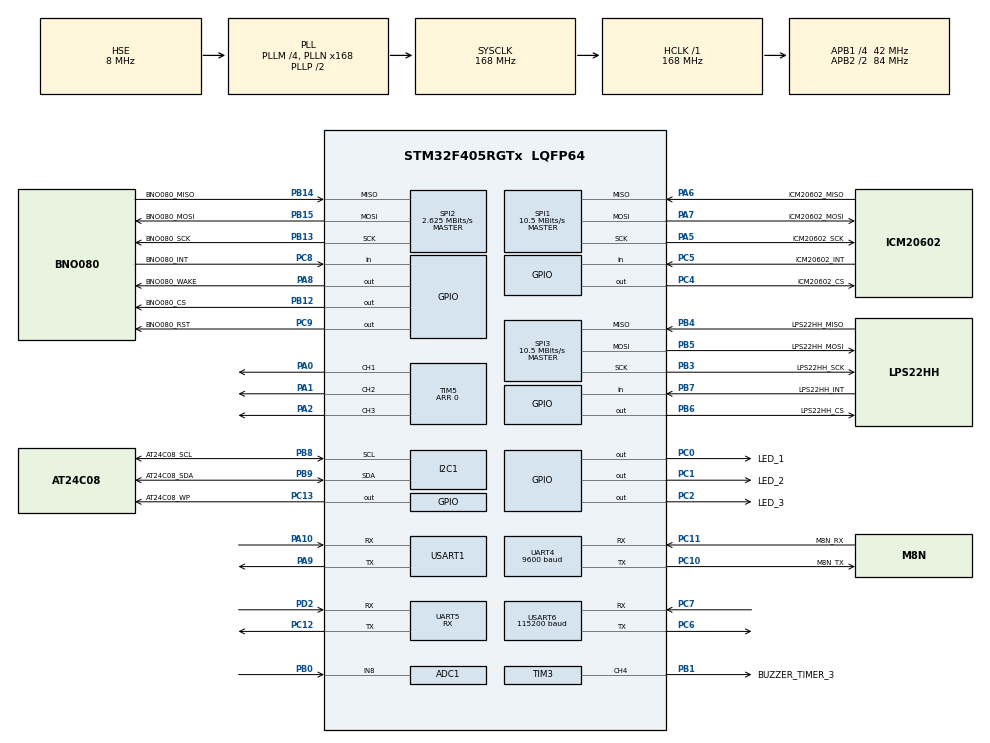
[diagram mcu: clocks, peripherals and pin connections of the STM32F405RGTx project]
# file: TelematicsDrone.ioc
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ADC1.Channel-0\#ChannelRegularConversion=ADC_CHANNEL_8
ADC1.ClockPrescaler=ADC_CLOCK_SYNC_PCLK_DIV8
ADC1.ContinuousConvMode=ENABLE
ADC1.DMAContinuousRequests=ENABLE
ADC1.NbrOfConversionFlag=1
ADC1.Rank-0\#ChannelRegularConversion=1
ADC1.SamplingTime-0\#ChannelRegularConversion=ADC_SAMPLETIME_480CYCLES
ADC1.master=1
Dma.ADC1.0.Direction=DMA_PERIPH_TO_MEMORY
Dma.ADC1.0.FIFOMode=DMA_FIFOMODE_DISABLE
Dma.ADC1.0.Instance=DMA2_Stream0
Dma.ADC1.0.MemDataAlignment=DMA_MDATAALIGN_HALFWORD
Dma.ADC1.0.MemInc=DMA_MINC_DISABLE
Dma.ADC1.0.Mode=DMA_CIRCULAR
Dma.ADC1.0.PeriphDataAlignment=DMA_PDATAALIGN_HALFWORD
Dma.ADC1.0.PeriphInc=DMA_PINC_DISABLE
Dma.ADC1.0.Priority=DMA_PRIORITY_LOW
Dma.Request0=ADC1
I2C1.I2C_Mode=I2C_Fast
Mcu.Family=STM32F4
Mcu.Name=STM32F405RGTx
Mcu.Package=LQFP64
NVIC.DMA2_Stream0_IRQn=true\:0\:0\:false\:false\:true\:false\:true\:true
NVIC.PriorityGroup=NVIC_PRIORITYGROUP_4
NVIC.TIM7_IRQn=true\:0\:0\:false\:false\:true\:true\:true\:true
NVIC.UART4_IRQn=true\:0\:0\:false\:false\:true\:true\:true\:true
NVIC.UART5_IRQn=true\:0\:0\:false\:false\:true\:true\:true\:true
NVIC.USART1_IRQn=true\:0\:0\:false\:false\:true\:true\:true\:true
NVIC.USART6_IRQn=true\:0\:0\:false\:false\:true\:true\:true\:true
PA0-WKUP.Signal=S_TIM5_CH1
PA1.Signal=S_TIM5_CH2
PA10.Mode=Asynchronous
PA10.Signal=USART1_RX
PA2.Signal=S_TIM5_CH3
PA5.GPIO_Label=ICM20602_SCK
PA5.Mode=Full_Duplex_Master
PA5.Signal=SPI1_SCK
PA6.GPIO_Label=ICM20602_MISO
PA6.Mode=Full_Duplex_Master
PA6.Signal=SPI1_MISO
PA7.GPIO_Label=ICM20602_MOSI
PA7.Mode=Full_Duplex_Master
PA7.Signal=SPI1_MOSI
PA8.GPIO_Label=BNO080_WAKE
PA8.Signal=GPIO_Output
PA9.Mode=Asynchronous
PA9.Signal=USART1_TX
PB0.Signal=ADCx_IN8
PB1.GPIO_Label=BUZZER_TIMER_3
PB1.Signal=S_TIM3_CH4
PB12.GPIO_Label=BNO080_CS
PB12.Signal=GPIO_Output
PB13.GPIO_Label=BNO080_SCK
PB13.Mode=Full_Duplex_Master
PB13.Signal=SPI2_SCK
PB14.GPIO_Label=BNO080_MISO
PB14.Mode=Full_Duplex_Master
PB14.Signal=SPI2_MISO
PB15.GPIO_Label=BNO080_MOSI
PB15.Mode=Full_Duplex_Master
PB15.Signal=SPI2_MOSI
PB3.GPIO_Label=LPS22HH_SCK
PB3.Mode=Full_Duplex_Master
PB3.Signal=SPI3_SCK
PB4.GPIO_Label=LPS22HH_MISO
PB4.Mode=Full_Duplex_Master
PB4.Signal=SPI3_MISO
PB5.GPIO_Label=LPS22HH_MOSI
PB5.Mode=Full_Duplex_Master
PB5.Signal=SPI3_MOSI
PB6.GPIO_Label=LPS22HH_CS
PB6.Signal=GPIO_Output
PB7.GPIO_Label=LPS22HH_INT
PB7.Signal=GPIO_Input
PB8.GPIO_Label=AT24C08_SCL
PB8.Mode=I2C
PB8.Signal=I2C1_SCL
PB9.GPIO_Label=AT24C08_SDA
PB9.Mode=I2C
PB9.Signal=I2C1_SDA
PC0.GPIO_Label=LED_1
PC0.Signal=GPIO_Output
PC1.GPIO_Label=LED_2
PC1.Signal=GPIO_Output
PC10.GPIO_Label=M8N_TX
PC10.Mode=Asynchronous
PC10.Signal=UART4_TX
PC11.GPIO_Label=M8N_RX
PC11.Mode=Asynchronous
PC11.Signal=UART4_RX
PC12.Mode=Asynchronous
PC12.Signal=UART5_TX
PC13-ANTI_TAMP.GPIO_Label=AT24C08_WP
PC13-ANTI_TAMP.PinState=GPIO_PIN_SET
PC13-ANTI_TAMP.Signal=GPIO_Output
PC2.GPIO_Label=LED_3
PC2.Signal=GPIO_Output
PC4.GPIO_Label=ICM20602_CS
PC4.Signal=GPIO_Output
PC5.GPIO_Label=ICM20602_INT
PC5.Signal=GPIO_Input
PC6.Mode=Asynchronous
PC6.Signal=USART6_TX
PC7.Mode=Asynchronous
PC7.Signal=USART6_RX
PC8.GPIO_Label=BNO080_INT
PC8.Signal=GPIO_Input
PC9.GPIO_Label=BNO080_RST
PC9.Signal=GPIO_Output
PD2.Mode=Asynchronous
PD2.Signal=UART5_RX
PH0-OSC_IN.Mode=HSE-External-Oscillator
PH0-OSC_IN.Signal=RCC_OSC_IN
PH1-OSC_OUT.Mode=HSE-External-Oscillator
PH1-OSC_OUT.Signal=RCC_OSC_OUT
ProjectManager.HeapSize=0x200
ProjectManager.StackSize=0x400
ProjectManager.TargetToolchain=STM32CubeIDE
RCC.48MHZClocksFreq_Value=84000000
RCC.AHBFreq_Value=168000000
RCC.APB1CLKDivider=RCC_HCLK_DIV4
RCC.APB1Freq_Value=42000000
RCC.APB1TimFreq_Value=84000000
RCC.APB2CLKDivider=RCC_HCLK_DIV2
RCC.APB2Freq_Value=84000000
RCC.APB2TimFreq_Value=168000000
RCC.CortexFreq_Value=168000000
RCC.HCLKFreq_Value=168000000
RCC.HSE_VALUE=8000000
RCC.HSI_VALUE=16000000
RCC.LSE_VALUE=32768
RCC.PLLM=4
RCC.PLLN=168
RCC.PLLSourceVirtual=RCC_PLLSOURCE_HSE
RCC.SYSCLKFreq_VALUE=168000000
RCC.SYSCLKSource=RCC_SYSCLKSOURCE_PLLCLK
RCC.VCOOutputFreq_Value=336000000
SH.ADCx_IN8.0=ADC1_IN8,IN8
SH.S_TIM3_CH4.0=TIM3_CH4,PWM Generation4 CH4
SH.S_TIM5_CH1.0=TIM5_CH1,PWM Generation1 CH1
SH.S_TIM5_CH2.0=TIM5_CH2,PWM Generation2 CH2
SH.S_TIM5_CH3.0=TIM5_CH3,PWM Generation3 CH3
SPI1.BaudRatePrescaler=SPI_BAUDRATEPRESCALER_8
SPI1.CLKPhase=SPI_PHASE_2EDGE
SPI1.CLKPolarity=SPI_POLARITY_HIGH
SPI1.CalculateBaudRate=10.5 MBits/s
SPI1.Direction=SPI_DIRECTION_2LINES
SPI1.Mode=SPI_MODE_MASTER
SPI1.VirtualType=VM_MASTER
SPI2.BaudRatePrescaler=SPI_BAUDRATEPRESCALER_16
SPI2.CLKPhase=SPI_PHASE_2EDGE
SPI2.CLKPolarity=SPI_POLARITY_HIGH
SPI2.CalculateBaudRate=2.625 MBits/s
SPI2.Direction=SPI_DIRECTION_2LINES
SPI2.Mode=SPI_MODE_MASTER
SPI2.VirtualType=VM_MASTER
SPI3.BaudRatePrescaler=SPI_BAUDRATEPRESCALER_4
SPI3.CLKPhase=SPI_PHASE_2EDGE
SPI3.CLKPolarity=SPI_POLARITY_HIGH
SPI3.CalculateBaudRate=10.5 MBits/s
SPI3.Direction=SPI_DIRECTION_2LINES
SPI3.Mode=SPI_MODE_MASTER
SPI3.VirtualType=VM_MASTER
TIM3.AutoReloadPreload=TIM_AUTORELOAD_PRELOAD_ENABLE
TIM3.Channel-PWM\ Generation4\ CH4=TIM_CHANNEL_4
TIM3.OCFastMode_PWM-PWM\ Generation4\ CH4=TIM_OCFAST_ENABLE
TIM3.Period=20
TIM3.Prescaler=999
TIM3.Pulse-PWM\ Generation4\ CH4=10
TIM5.AutoReloadPreload=TIM_AUTORELOAD_PRELOAD_ENABLE
TIM5.Channel-PWM\ Generation1\ CH1=TIM_CHANNEL_1
TIM5.Channel-PWM\ Generation2\ CH2=TIM_CHANNEL_2
TIM5.Channel-PWM\ Generation3\ CH3=TIM_CHANNEL_3
TIM5.Channel-PWM\ Generation4\ No\ Output=TIM_CHANNEL_4
TIM5.OCFastMode_PWM-PWM\ Generation1\ CH1=TIM_OCFAST_ENABLE
TIM5.OCFastMode_PWM-PWM\ Generation2\ CH2=TIM_OCFAST_ENABLE
TIM5.OCFastMode_PWM-PWM\ Generation3\ CH3=TIM_OCFAST_ENABLE
TIM5.OCFastMode_PWM-PWM\ Generation4\ No\ Output=TIM_OCFAST_ENABLE
TIM5.Period=0
TIM5.Pulse-PWM\ Generation1\ CH1=0
TIM5.Pulse-PWM\ Generation2\ CH2=21000
TIM5.Pulse-PWM\ Generation3\ CH3=31500
TIM5.Pulse-PWM\ Generation4\ No\ Output=1
TIM7.AutoReloadPreload=TIM_AUTORELOAD_PRELOAD_ENABLE
TIM7.Period=1
TIM7.Prescaler=41999
UART4.BaudRate=9600
UART4.VirtualMode=Asynchronous
UART5.Mode=MODE_RX
UART5.VirtualMode=Asynchronous
USART1.VirtualMode=VM_ASYNC
USART6.BaudRate=115200
USART6.VirtualMode=VM_ASYNC
VP_TIM3_VS_ClockSourceINT.Mode=Internal
VP_TIM5_VS_ClockSourceINT.Mode=Internal
VP_TIM5_VS_no_output4.Mode=PWM Generation4 No Output
VP_TIM7_VS_ClockSourceINT.Mode=Enable_Timer
board=custom

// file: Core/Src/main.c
/* USER CODE BEGIN Header */
/**
 ******************************************************************************
 * @file           : main.c
 * @brief          : Main program body
 ******************************************************************************
 * @attention
 *
 * Copyright (c) 2022 STMicroelectronics.
 * All rights reserved.
 *
 * This software is licensed under terms that can be found in the LICENSE file
 * in the root directory of this software component.
 * If no LICENSE file comes with this software, it is provided AS-IS.
 *
 ******************************************************************************
 */
/* USER CODE END Header */
#include "main.h"
#include "adc.h"
#include "dma.h"
#include "i2c.h"
#include "spi.h"
#include "tim.h"
#include "usart.h"
#include "gpio.h"

/* USER CODE BEGIN Includes */
#include <string.h>

#include "common.h"
#include "sensor.h"
#include "M8N.h"
#include "FS-IA6B.h"
#include "motor.h"
#include "eeprom.h"
#include "PID control.h"

/* USER CODE END Includes */

/* USER CODE BEGIN PV */
extern IBusMessageStruct iBus;

extern uint8_t uart1RXData;
uint8_t telemetryTXData[40];
uint8_t telemetryRXData[40];
uint8_t telemetryRXCpltFlag;

extern timer7Flag;
extern timer7GlobalFlag;

unsigned char motorFlag = 0;

unsigned short ccr1, ccr2, ccr3, ccr4;
unsigned short iBusSwAPrev = 0;

float batteryVolt;

float yaw_heading_reference;

uint8_t timer71msFlag = 0;
/* USER CODE END PV */

void SystemClock_Config(void);
/* USER CODE BEGIN PFP */
void BNO080_Calibration(void);
void EncodeMessage(unsigned char* telemetryTxData);
void EncodeMessageAHRS(unsigned char* telemetryTxData);
void EncodeMessagePIDGain(unsigned char* telemetryTxData, unsigned char id, float p, float i, float d);
/* USER CODE END PFP */

int main(void)
{

	/* MCU Configuration--------------------------------------------------------*/

	/* Reset of all peripherals, Initializes the Flash interface and the Systick. */
	HAL_Init();

	/* Configure the system clock */
	SystemClock_Config();

	/* Initialize all configured peripherals */
	MX_GPIO_Init();
	MX_DMA_Init();
	MX_TIM3_Init();
	MX_USART6_UART_Init();
	MX_SPI2_Init();
	MX_SPI1_Init();
	MX_SPI3_Init();
	MX_UART4_Init();
	MX_UART5_Init();
	MX_TIM5_Init();
	MX_I2C1_Init();
	MX_ADC1_Init();
	MX_USART1_UART_Init();
	MX_TIM7_Init();
	/* USER CODE BEGIN 2 */

	// EEPROM Init
	//EEPROMInit();

	// Buzzer Timer Init
	LL_TIM_EnableCounter(TIM3);

	// Motor ESC Timer Init
	LL_TIM_CC_EnableChannel(TIM5, LL_TIM_CHANNEL_CH1);
	LL_TIM_CC_EnableChannel(TIM5, LL_TIM_CHANNEL_CH2);
	LL_TIM_CC_EnableChannel(TIM5, LL_TIM_CHANNEL_CH3);
	LL_TIM_CC_EnableChannel(TIM5, LL_TIM_CHANNEL_CH4);

	// Battery ADC Check
	HAL_ADC_Start_DMA(&hadc1, &batteryVolt, 1);

	// Telemetry UART
	HAL_UART_Receive_IT(&huart1, &uart1RXData, 1);

	// Global Timer
	LL_TIM_EnableCounter(TIM7);
	LL_TIM_EnableIT_UPDATE(TIM7);

	// Debug USART Init
	LL_USART_EnableIT_RXNE(USART6);

	// M8N UART Init
	LL_USART_EnableIT_RXNE(UART4);

	// FS-IA6B UART Init
	LL_USART_EnableIT_RXNE(UART5);

	SensorInit();
	M8NInit();
	FSIA6BUart5Init();

	ICM20602GyroOffset();

	if(BNO080_Initialization() != LOW) {
		BuzzerOn(HIGH);

		TIM3->PSC = 1000;
		HAL_Delay(100);
		TIM3->PSC = 1500;
		HAL_Delay(100);
		TIM3->PSC = 2000;
		HAL_Delay(100);
		BuzzerOn(LOW);
	}

	/* USER CODE END 2 */

	/* Infinite loop */
	while (1)
	{

		/* USER CODE BEGIN 3 */

		if(timer71msFlag == HIGH) {
			timer71msFlag = LOW;

			// PID Cal
			Double_Roll_Pitch_PID_Calculation(&pitch, (iBus.RV - 1500) * 0.1f, BNO080_Pitch, ICM20602.gyro_x);
			Double_Roll_Pitch_PID_Calculation(&roll, (iBus.RH - 1500) * 0.1f, BNO080_Roll, ICM20602.gyro_y);

			// PID Reset
			if(iBus.LV < 1030 || motorFlag == LOW) {
				Reset_All_PID_Integrator();
			}

			if(iBus.LH < 1485 || iBus.LH > 1515) {

				yaw_heading_reference = BNO080_Yaw;
				Single_Yaw_Rate_PID_Calculation(&yaw_rate, (iBus.LH - 1500), ICM20602.gyro_z_raw);

				// Timer CCR Resgister Cal
				ccr1 = 10500 + 500 + (iBus.LV - 1000) * 10 - pitch.in.pid_result + roll.in.pid_result - yaw_rate.pid_result;
				ccr2 = 10500 + 500 + (iBus.LV - 1000) * 10 - pitch.in.pid_result + roll.in.pid_result - yaw_rate.pid_result;
				ccr3 = 10500 + 500 + (iBus.LV - 1000) * 10 - pitch.in.pid_result + roll.in.pid_result - yaw_rate.pid_result;
				ccr4 = 10500 + 500 + (iBus.LV - 1000) * 10 - pitch.in.pid_result + roll.in.pid_result - yaw_rate.pid_result;
			}

			// Axis Cal
			else {
				Single_Yaw_Heading_PID_Calculation(&yaw_heading, yaw_heading_reference, BNO080_Yaw, ICM20602.gyro_z);

				ccr1 = 10500 + 500 + (iBus.LV - 1000) * 10 - pitch.in.pid_result + roll.in.pid_result - yaw_heading.pid_result;
				ccr2 = 10500 + 500 + (iBus.LV - 1000) * 10 - pitch.in.pid_result + roll.in.pid_result - yaw_heading.pid_result;
				ccr3 = 10500 + 500 + (iBus.LV - 1000) * 10 - pitch.in.pid_result + roll.in.pid_result - yaw_heading.pid_result;
				ccr4 = 10500 + 500 + (iBus.LV - 1000) * 10 - pitch.in.pid_result + roll.in.pid_result - yaw_heading.pid_result;
			}

		}

		if(iBus.SwA == 2000 && iBusSwAPrev != 2000) {
			if(iBus.LV < 1010) {
				motorFlag = HIGH;
				yaw_heading_reference = BNO080_Yaw;
			}
			else {
				while(IsIBusReceived() == LOW || iBus.SwA == 2000) {
					BuzzerOn(HIGH);

					TIM3->PSC = 1000;
					HAL_Delay(70);
					BuzzerOn(LOW);
					HAL_Delay(70);
				}
			}
		}

		// Get Sensor Data
		GetBNO080Data();
		GetICM20602Data();
		GetLPS22HHData();
		M8NGetUBXMessageSuccess();

	}
	/* USER CODE END 3 */
}

void SystemClock_Config(void)
{
	RCC_OscInitTypeDef RCC_OscInitStruct = {0};
	RCC_ClkInitTypeDef RCC_ClkInitStruct = {0};

	/** Configure the main internal regulator output voltage
	 */
	__HAL_RCC_PWR_CLK_ENABLE();
	__HAL_PWR_VOLTAGESCALING_CONFIG(PWR_REGULATOR_VOLTAGE_SCALE1);

	/** Initializes the RCC Oscillators according to the specified parameters
	 * in the RCC_OscInitTypeDef structure.
	 */
	RCC_OscInitStruct.OscillatorType = RCC_OSCILLATORTYPE_HSE;
	RCC_OscInitStruct.HSEState = RCC_HSE_ON;
	RCC_OscInitStruct.PLL.PLLState = RCC_PLL_ON;
	RCC_OscInitStruct.PLL.PLLSource = RCC_PLLSOURCE_HSE;
	RCC_OscInitStruct.PLL.PLLM = 4;
	RCC_OscInitStruct.PLL.PLLN = 168;
	RCC_OscInitStruct.PLL.PLLP = RCC_PLLP_DIV2;
	RCC_OscInitStruct.PLL.PLLQ = 4;
	if (HAL_RCC_OscConfig(&RCC_OscInitStruct) != HAL_OK)
	{
		Error_Handler();
	}

	/** Initializes the CPU, AHB and APB buses clocks
	 */
	RCC_ClkInitStruct.ClockType = RCC_CLOCKTYPE_HCLK|RCC_CLOCKTYPE_SYSCLK
			|RCC_CLOCKTYPE_PCLK1|RCC_CLOCKTYPE_PCLK2;
	RCC_ClkInitStruct.SYSCLKSource = RCC_SYSCLKSOURCE_PLLCLK;
	RCC_ClkInitStruct.AHBCLKDivider = RCC_SYSCLK_DIV1;
	RCC_ClkInitStruct.APB1CLKDivider = RCC_HCLK_DIV4;
	RCC_ClkInitStruct.APB2CLKDivider = RCC_HCLK_DIV2;

	if (HAL_RCC_ClockConfig(&RCC_ClkInitStruct, FLASH_LATENCY_5) != HAL_OK)
	{
		Error_Handler();
	}
}

/* USER CODE BEGIN 4 */
void BNO080_Calibration(void)
{
	//Resets BNO080 to disable All output
	BNO080_Initialization();

	//BNO080/BNO085 Configuration
	//Enable dynamic calibration for accelerometer, gyroscope, and magnetometer
	//Enable Game Rotation Vector output
	//Enable Magnetic Field output
	BNO080_calibrateAll(); //Turn on cal for Accel, Gyro, and Mag
	BNO080_enableGameRotationVector(20000); //Send data update every 20ms (50Hz)
	BNO080_enableMagnetometer(20000); //Send data update every 20ms (50Hz)

	//Once magnetic field is 2 or 3, run the Save DCD Now command
	printf("Calibrating BNO080. Pull up FS-i6 SWC to end calibration and save to flash\n");
	printf("Output in form x, y, z, in uTesla\n\n");

	//while loop for calibration procedure
	//Iterates until iBus.SwC is mid point (1500)
	//Calibration procedure should be done while this loop is in iteration.
	while(iBus.SwC == 1500)
	{
		if(BNO080_dataAvailable() == 1)
		{
			//Observing the status bit of the magnetic field output
			float x = BNO080_getMagX();
			float y = BNO080_getMagY();
			float z = BNO080_getMagZ();
			unsigned char accuracy = BNO080_getMagAccuracy();

			float quatI = BNO080_getQuatI();
			float quatJ = BNO080_getQuatJ();
			float quatK = BNO080_getQuatK();
			float quatReal = BNO080_getQuatReal();
			unsigned char sensorAccuracy = BNO080_getQuatAccuracy();

			printf("%f,%f,%f,", x, y, z);
			if (accuracy == 0) printf("Unreliable\t");
			else if (accuracy == 1) printf("Low\t");
			else if (accuracy == 2) printf("Medium\t");
			else if (accuracy == 3) printf("High\t");

			printf("\t%f,%f,%f,%f,", quatI, quatI, quatI, quatReal);
			if (sensorAccuracy == 0) printf("Unreliable\n");
			else if (sensorAccuracy == 1) printf("Low\n");
			else if (sensorAccuracy == 2) printf("Medium\n");
			else if (sensorAccuracy == 3) printf("High\n");

			//Turn the LED and buzzer on when both accuracy and sensorAccuracy is high
			if(accuracy == 3 && sensorAccuracy == 3)
			{
				LL_GPIO_SetOutputPin(GPIOC, LL_GPIO_PIN_0 | LL_GPIO_PIN_1 | LL_GPIO_PIN_2);
				TIM3->PSC = 65000; //Very low frequency
				LL_TIM_CC_EnableChannel(TIM3, LL_TIM_CHANNEL_CH4);
			}
			else
			{
				LL_GPIO_ResetOutputPin(GPIOC, LL_GPIO_PIN_0 | LL_GPIO_PIN_1 | LL_GPIO_PIN_2);
				LL_TIM_CC_DisableChannel(TIM3, LL_TIM_CHANNEL_CH4);
			}
		}

		IsIBusReceived(); //Refreshes iBus Data for iBus.SwC
		HAL_Delay(100);
	}

	//Ends the loop when iBus.SwC is not mid point
	//Turn the LED and buzzer off
	LL_GPIO_ResetOutputPin(GPIOC, LL_GPIO_PIN_0 | LL_GPIO_PIN_1 | LL_GPIO_PIN_2);
	LL_TIM_CC_DisableChannel(TIM3, LL_TIM_CHANNEL_CH4);

	//Saves the current dynamic calibration data (DCD) to memory
	//Sends command to get the latest calibration status
	BNO080_saveCalibration();
	BNO080_requestCalibrationStatus();

	//Wait for calibration response, timeout if no response
	int counter = 100;
	while(1)
	{
		if(--counter == 0) break;
		if(BNO080_dataAvailable())
		{
			//The IMU can report many different things. We must wait
			//for the ME Calibration Response Status byte to go to zero
			if(BNO080_calibrationComplete() == 1)
			{
				printf("\nCalibration data successfully stored\n");
				LL_TIM_CC_EnableChannel(TIM3, LL_TIM_CHANNEL_CH4);
				TIM3->PSC = 2000;
				HAL_Delay(300);
				TIM3->PSC = 1500;
				HAL_Delay(300);
				LL_TIM_CC_DisableChannel(TIM3, LL_TIM_CHANNEL_CH4);
				HAL_Delay(1000);
				break;
			}
		}
		HAL_Delay(10);
	}
	if(counter == 0)
	{
		printf("\nCalibration data failed to store. Please try again.\n");
		LL_TIM_CC_EnableChannel(TIM3, LL_TIM_CHANNEL_CH4);
		TIM3->PSC = 1500;
		HAL_Delay(300);
		TIM3->PSC = 2000;
		HAL_Delay(300);
		LL_TIM_CC_DisableChannel(TIM3, LL_TIM_CHANNEL_CH4);
		HAL_Delay(1000);
	}

	//BNO080_endCalibration(); //Turns off all calibration
	//In general, calibration should be left on at all times. The BNO080
	//auto-calibrates and auto-records cal data roughly every 5 minutes

	//Resets BNO080 to disable Game Rotation Vector and Magnetometer
	//Enables Rotation Vector
	BNO080_Initialization();
	BNO080_enableRotationVector(2500); //Send data update every 2.5ms (400Hz)
}

// Telematric Receive
void HAL_UART_RxCpltCallback(UART_HandleTypeDef *huart)
{
	static unsigned char cnt = 0;

	if(huart->Instance == USART1) {
		HAL_UART_Receive_IT(&huart1, &uart1RXData, 1);

		switch(cnt) {
		case 0:
			if(uart1RXData == 0x47) {
				telemetryTXData[cnt] = uart1RXData;
				cnt++;
			}
			break;

		case 1:
			if(uart1RXData == 0x53) {
				telemetryTXData[cnt] = uart1RXData;
				cnt++;
			}
			else {
				cnt = 0;
			}
			break;

		case 19:
			telemetryTXData[cnt] = uart1RXData;
			cnt = 0;
			telemetryRXCpltFlag = 1;
			break;

		default:
			telemetryTXData[cnt] = uart1RXData;
			cnt++;
			break;
		}
	}

}

void EncodeMessageAHRS(unsigned char* telemetryTxData)
{
	// SYNC_CHAR Header Data
	telemetryTxData[0] = 0x46;
	telemetryTxData[1] = 0x43;

	// ID
	telemetryTxData[2] = 0x10;

	// BNO080 Data
	telemetryTxData[3] = (short)(BNO080_Roll * 100);
	telemetryTxData[4] = ((short)(BNO080_Roll * 100)) >> 8;

	telemetryTxData[5] = (short)(BNO080_Pitch * 100);
	telemetryTxData[6] = ((short)(BNO080_Pitch * 100)) >> 8;

	telemetryTxData[7] = (unsigned short)(BNO080_Yaw * 100);
	telemetryTxData[8] = ((unsigned short)(BNO080_Yaw * 100)) >> 8;

	telemetryTxData[9] = (short)(LPS22HH.baroAltFilt * 10);
	telemetryTxData[10] = ((short)(LPS22HH.baroAltFilt * 10)) >> 8;

	telemetryTxData[11] = (short)((iBus.RH - 1500) * 0.1f * 100);
	telemetryTxData[12] = ((short)((iBus.RH - 1500) * 0.1f * 100)) >> 8;

	telemetryTxData[13] = (short)((iBus.RV - 1500) * 0.1f * 100);
	telemetryTxData[14] = ((short)((iBus.RV - 1500) * 0.1f * 100)) >> 8;

	telemetryTxData[15] = (unsigned short)((iBus.LH - 1000) * 0.36f * 100);
	telemetryTxData[16] = ((unsigned short)((iBus.LH - 1000) * 0.36f * 100)) >> 8;

	telemetryTxData[17] = 0x00;
	telemetryTxData[18] = 0x00;

	telemetryTxData[19] = 0xff;

	for(int i = 0; i < 19; i++) {
		telemetryTxData[19] = telemetryTxData[19] - telemetryTxData[i];
	}
}

void EncodeMessageGPS(unsigned char* telemetryTxData)
{
	telemetryTxData[0] = 0x46;
	telemetryTxData[1] = 0x43;

	telemetryTxData[2] = 0x11;

	// GPS - Lat
	telemetryTxData[3] = posllh.lat;
	telemetryTxData[4] = posllh.lat >> 8;
	telemetryTxData[5] = posllh.lat >> 16;
	telemetryTxData[6] = posllh.lat >> 24;

	// GPS - Lon
	telemetryTxData[7] = posllh.lon;
	telemetryTxData[8] = posllh.lon >> 8;
	telemetryTxData[9] = posllh.lon >> 16;
	telemetryTxData[10] = posllh.lon >> 24;

	telemetryTxData[11] = (unsigned short)(batteryVolt * 100);
	telemetryTxData[12] = ((unsigned short)(batteryVolt * 100)) >> 8;

	telemetryTxData[13] = (iBus.SwA == 1000) ? 0 : 1;
	telemetryTxData[14] = (iBus.SwC == 1000) ? 0 : (iBus.SwC== 1500) ? 1 : 2;

	telemetryTxData[15] = IBusIsActiveFailSafe(&iBus);

	telemetryTxData[16] = 0x00;
	telemetryTxData[17] = 0x00;
	telemetryTxData[18] = 0x00;

	telemetryTxData[19] = 0xff;

	for(int i = 0; i < 19; i++) {
		telemetryTxData[19] = telemetryTxData[19] - telemetryTxData[i];
	}
}

void EncodeMessagePIDGain(unsigned char* telemetryTxData, unsigned char id, float p, float i, float d)
{
	telemetryTxData[0] = 0x46;
	telemetryTxData[1] = 0x43;

	telemetryTxData[2] = id;

	memcpy(&telemetryTxData[3], &p, 4);
	memcpy(&telemetryTxData[7], &i, 4);
	memcpy(&telemetryTxData[11], &d, 4);

	telemetryTxData[15] = 0x00;
	telemetryTxData[16] = 0x00;
	telemetryTxData[17] = 0x00;
	telemetryTxData[18] = 0x00;

	telemetryTxData[19] = 0xff;

	for(int i = 0; i < 19; i++) {
		telemetryTxData[19] = telemetryTxData[19] - telemetryTxData[i];
	}
}
/* USER CODE END 4 */

void Error_Handler(void)
{
	__disable_irq();
	while (1)
	{
	}
}
